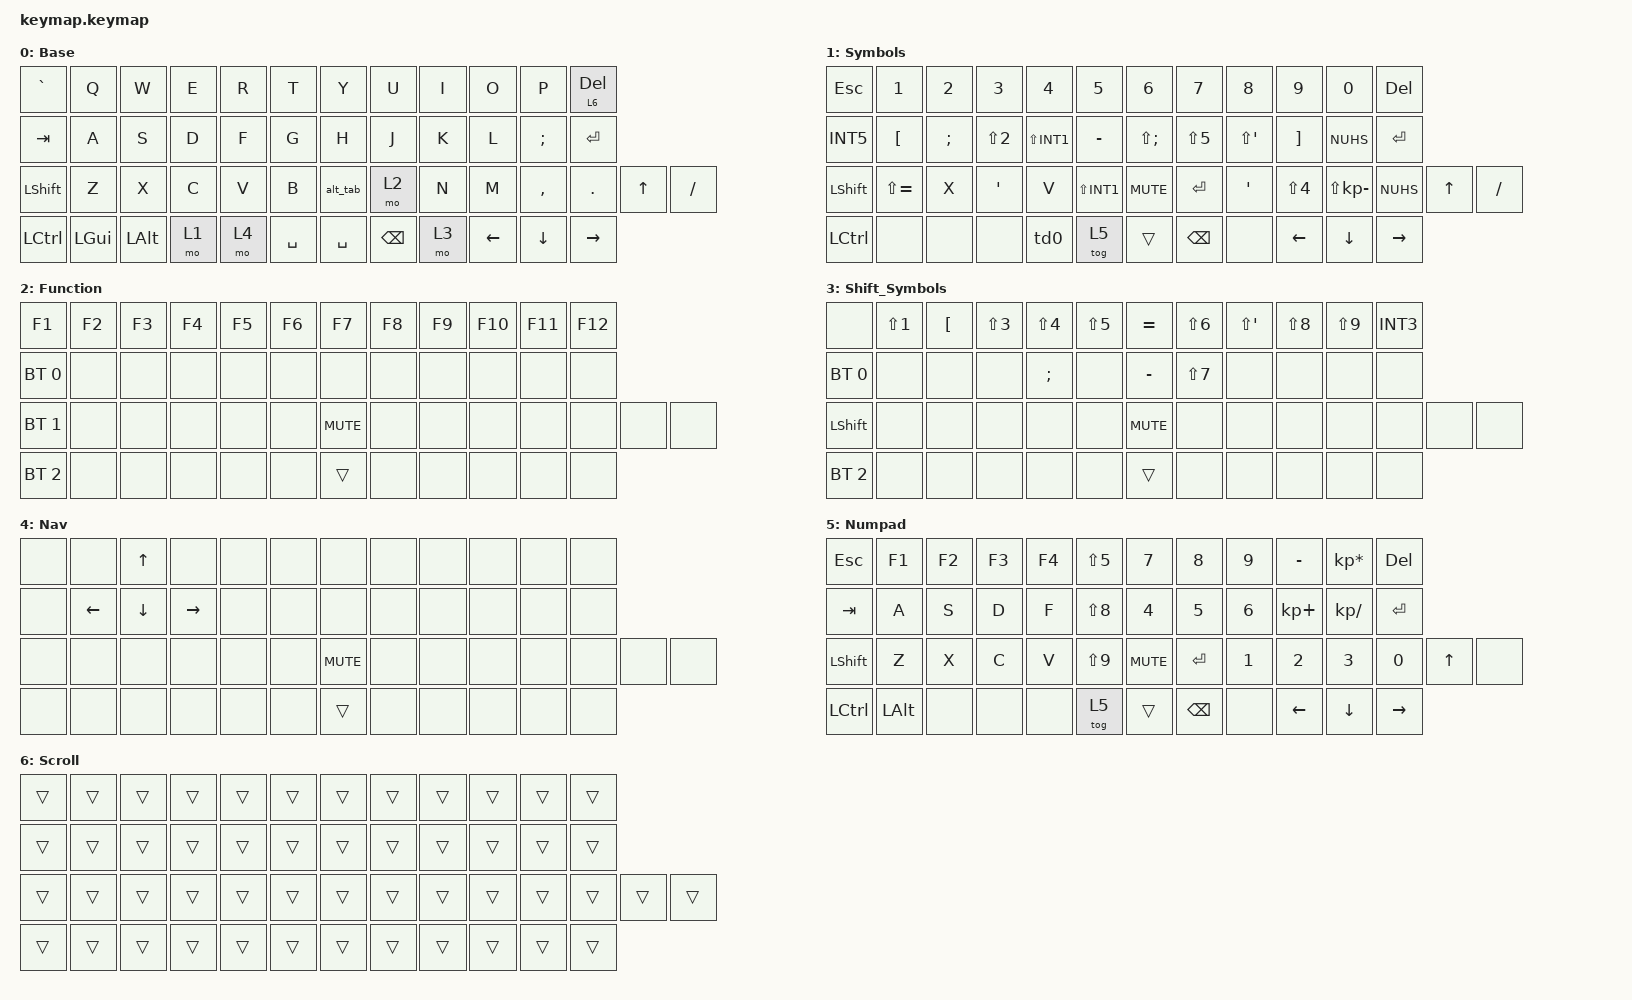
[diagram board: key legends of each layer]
/*
 * ZEN keymap — Cornix (cornix54) からの移植版
 *
 * レイヤー番号は Cornix 側 (0-6) にそのまま合わせている。
 * ZEN の zen_right.overlay 側も合わせて変更が必要:
 *   - scroller の layers = <4> を <6> に (Cornix の &lt 6 DEL に対応)
 *   - オートマウスの &zip_temp_layer 1 500 は layer1=Symbols と衝突するので削除
 *     (クリックは J+K などのコンボで出す。残すなら未使用の layer 7 を作って向ける)
 *
 * Cornix のエンコーダは移植しない (sensor-bindings は全レイヤーで削除)。
 */

#include <behaviors.dtsi>
#include <dt-bindings/zmk/bt.h>
#include <dt-bindings/zmk/keys.h>
#include <dt-bindings/zmk/outputs.h>
#include <dt-bindings/zmk/pointing.h>

/ {
    behaviors {
        // tap: ` (GRAVE) / double-tap: 無変換(MHEN)
        td0: tap_dance_grave_mhen {
            compatible = "zmk,behavior-tap-dance";
            #binding-cells = <0>;
            tapping-term-ms = <200>;
            bindings = <&kp GRAVE>, <&kp INT5>;
        };
    };

    macros {
        // GUI+TAB (Windowsのタスク切替相当)
        alt_tab: alt_tab_macro {
            compatible = "zmk,behavior-macro";
            #binding-cells = <0>;
            bindings = <&macro_press &kp LGUI>,
                       <&macro_press &kp TAB>,
                       <&macro_pause_for_release>,
                       <&macro_release &kp TAB>,
                       <&macro_release &kp LGUI>;
        };
    };

    combos {
        compatible = "zmk,combos";

        // 0-37 は Cornix と同じ位置番号なので、クリック系はそのまま使える
        combo_btn1 {
            bindings = <&mkp MB1>;
            key-positions = <19 20>;      // J + K
            timeout-ms = <40>;
            require-prior-idle-ms = <150>;
        };

        combo_btn2 {
            bindings = <&mkp MB2>;
            key-positions = <18 20>;      // H + K
            timeout-ms = <40>;
            require-prior-idle-ms = <150>;
        };

        combo_btn4 {
            bindings = <&mkp MB4>;
            key-positions = <19 20 21>;   // J + K + L
            timeout-ms = <40>;
            require-prior-idle-ms = <150>;
        };

        // Cornix は <43 44>。ZEN は右親指 BSPC が 45 なので 1つずれる
        combo_delete {
            bindings = <&kp DEL>;
            key-positions = <43 45>;      // SPACE(左親指) + BSPC(右親指内側)
            timeout-ms = <40>;
            require-prior-idle-ms = <150>;
        };

        // ZEN 既定から引き継ぎ。Function レイヤーでペアリング全消し
        bt_clear {
            bindings = <&bt BT_CLR>;
            key-positions = <28 29>;
            layers = <2>;
        };
    };

    keymap {
        compatible = "zmk,keymap";

        layer_base {
            display-name = "Base";
            bindings = <
                &kp GRAVE         &kp Q             &kp W             &kp E             &kp R             &kp T             &kp Y             &kp U             &kp I             &kp O             &kp P             &lt 6 DEL
                &kp TAB           &kp A             &kp S             &kp D             &kp F             &kp G             &kp H             &kp J             &kp K             &kp L             &kp SEMI          &kp ENTER
                &kp LSHFT         &kp Z             &kp X             &kp C             &kp V             &kp B             &alt_tab          &mo 2             &kp N             &kp M             &kp COMMA         &kp DOT           &kp UP            &kp FSLH
                &kp LCTRL         &kp LGUI          &kp LALT          &mo 1             &mo 4             &kp SPACE         &kp SPACE         &kp BSPC          &mo 3             &kp LEFT          &kp DOWN          &kp RIGHT
            >;
        };

        layer_symbols {
            display-name = "Symbols";
            bindings = <
                &kp ESC           &kp N1            &kp N2            &kp N3            &kp N4            &kp N5            &kp N6            &kp N7            &kp N8            &kp N9            &kp N0            &kp DEL
                &kp INT5          &kp LBKT          &kp SEMI          &kp LS(N2)        &kp LS(INT1)      &kp MINUS         &kp LS(SEMI)      &kp LS(N5)        &kp LS(SQT)       &kp RBKT          &kp NUHS          &kp ENTER
                &kp LSHFT         &kp LS(EQUAL)     &kp X             &kp SQT           &kp V             &kp LS(INT1)      &kp C_MUTE        &kp ENTER         &kp SQT           &kp LS(N4)        &kp LS(KP_MINUS)  &kp NUHS          &kp UP            &kp FSLH
                &kp LCTRL         &none             &none             &none             &td0              &tog 5            &trans            &kp BSPC          &none             &kp LEFT          &kp DOWN          &kp RIGHT
            >;
        };

        layer_function {
            display-name = "Function";
            bindings = <
                &kp F1            &kp F2            &kp F3            &kp F4            &kp F5            &kp F6            &kp F7            &kp F8            &kp F9            &kp F10           &kp F11           &kp F12
                &bt BT_SEL 0      &none             &none             &none             &none             &none             &none             &none             &none             &none             &none             &none
                &bt BT_SEL 1      &none             &none             &none             &none             &none             &kp C_MUTE        &none             &none             &none             &none             &none             &none             &none
                &bt BT_SEL 2      &none             &none             &none             &none             &none             &trans            &none             &none             &none             &none             &none
            >;
        };

        layer_shift_symbols {
            display-name = "Shift_Symbols";
            bindings = <
                &none             &kp LS(N1)        &kp LBKT          &kp LS(N3)        &kp LS(N4)        &kp LS(N5)        &kp EQUAL         &kp LS(N6)        &kp LS(SQT)       &kp LS(N8)        &kp LS(N9)        &kp INT3
                &bt BT_SEL 0      &none             &none             &none             &kp SEMI          &none             &kp MINUS         &kp LS(N7)        &none             &none             &none             &none
                &kp LSHFT         &none             &none             &none             &none             &none             &kp C_MUTE        &none             &none             &none             &none             &none             &none             &none
                &bt BT_SEL 2      &none             &none             &none             &none             &none             &trans            &none             &none             &none             &none             &none
            >;
        };

        layer_nav {
            display-name = "Nav";
            bindings = <
                &none             &none             &kp UP            &none             &none             &none             &none             &none             &none             &none             &none             &none
                &none             &kp LEFT          &kp DOWN          &kp RIGHT         &none             &none             &none             &none             &none             &none             &none             &none
                &none             &none             &none             &none             &none             &none             &kp C_MUTE        &none             &none             &none             &none             &none             &none             &none
                &none             &none             &none             &none             &none             &none             &trans            &none             &none             &none             &none             &none
            >;
        };

        layer_numpad {
            display-name = "Numpad";
            bindings = <
                &kp ESC           &kp F1            &kp F2            &kp F3            &kp F4            &kp LS(N5)        &kp N7            &kp N8            &kp N9            &kp MINUS         &kp KP_MULTIPLY   &kp DEL
                &kp TAB           &kp A             &kp S             &kp D             &kp F             &kp LS(N8)        &kp N4            &kp N5            &kp N6            &kp KP_PLUS       &kp KP_DIVIDE     &kp ENTER
                &kp LSHFT         &kp Z             &kp X             &kp C             &kp V             &kp LS(N9)        &kp C_MUTE        &kp ENTER         &kp N1            &kp N2            &kp N3            &kp N0            &kp UP            &none
                &kp LCTRL         &kp LALT          &none             &none             &none             &tog 5            &trans            &kp BSPC          &none             &kp LEFT          &kp DOWN          &kp RIGHT
            >;
        };

        layer_scroll {
            display-name = "Scroll";
            bindings = <
                &trans            &trans            &trans            &trans            &trans            &trans            &trans            &trans            &trans            &trans            &trans            &trans
                &trans            &trans            &trans            &trans            &trans            &trans            &trans            &trans            &trans            &trans            &trans            &trans
                &trans            &trans            &trans            &trans            &trans            &trans            &trans            &trans            &trans            &trans            &trans            &trans            &trans            &trans
                &trans            &trans            &trans            &trans            &trans            &trans            &trans            &trans            &trans            &trans            &trans            &trans
            >;
        };
    };
};
